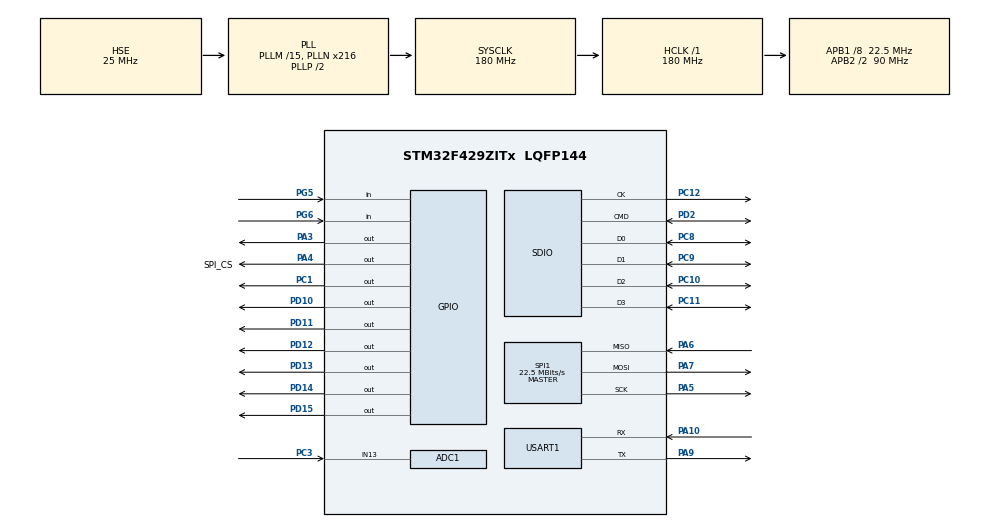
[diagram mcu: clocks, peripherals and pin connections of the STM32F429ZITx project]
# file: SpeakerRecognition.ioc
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ADC1.Channel-0\#ChannelRegularConversion=ADC_CHANNEL_13
ADC1.ClockPrescaler=ADC_CLOCK_SYNC_PCLK_DIV8
ADC1.ContinuousConvMode=ENABLE
ADC1.DMAContinuousRequests=ENABLE
ADC1.NbrOfConversionFlag=1
ADC1.Rank-0\#ChannelRegularConversion=1
ADC1.Resolution=ADC_RESOLUTION_8B
ADC1.SamplingTime-0\#ChannelRegularConversion=ADC_SAMPLETIME_480CYCLES
ADC1.ScanConvMode=ENABLE
ADC1.master=1
Dma.Request0=SPI1_RX
Dma.Request1=SPI1_TX
Dma.Request2=SDIO
Dma.SDIO.2.Direction=DMA_PERIPH_TO_MEMORY
Dma.SDIO.2.FIFOMode=DMA_FIFOMODE_ENABLE
Dma.SDIO.2.FIFOThreshold=DMA_FIFO_THRESHOLD_FULL
Dma.SDIO.2.Instance=DMA2_Stream3
Dma.SDIO.2.MemBurst=DMA_MBURST_INC4
Dma.SDIO.2.MemDataAlignment=DMA_MDATAALIGN_WORD
Dma.SDIO.2.MemInc=DMA_MINC_ENABLE
Dma.SDIO.2.Mode=DMA_PFCTRL
Dma.SDIO.2.PeriphBurst=DMA_PBURST_INC4
Dma.SDIO.2.PeriphDataAlignment=DMA_PDATAALIGN_WORD
Dma.SDIO.2.PeriphInc=DMA_PINC_DISABLE
Dma.SDIO.2.Priority=DMA_PRIORITY_VERY_HIGH
Dma.SPI1_RX.0.Direction=DMA_PERIPH_TO_MEMORY
Dma.SPI1_RX.0.FIFOMode=DMA_FIFOMODE_DISABLE
Dma.SPI1_RX.0.Instance=DMA2_Stream0
Dma.SPI1_RX.0.MemDataAlignment=DMA_MDATAALIGN_BYTE
Dma.SPI1_RX.0.MemInc=DMA_MINC_ENABLE
Dma.SPI1_RX.0.Mode=DMA_NORMAL
Dma.SPI1_RX.0.PeriphDataAlignment=DMA_PDATAALIGN_BYTE
Dma.SPI1_RX.0.PeriphInc=DMA_PINC_DISABLE
Dma.SPI1_RX.0.Priority=DMA_PRIORITY_VERY_HIGH
Dma.SPI1_TX.1.Direction=DMA_MEMORY_TO_PERIPH
Dma.SPI1_TX.1.FIFOMode=DMA_FIFOMODE_DISABLE
Dma.SPI1_TX.1.Instance=DMA2_Stream5
Dma.SPI1_TX.1.MemDataAlignment=DMA_MDATAALIGN_BYTE
Dma.SPI1_TX.1.MemInc=DMA_MINC_ENABLE
Dma.SPI1_TX.1.Mode=DMA_NORMAL
Dma.SPI1_TX.1.PeriphDataAlignment=DMA_PDATAALIGN_BYTE
Dma.SPI1_TX.1.PeriphInc=DMA_PINC_DISABLE
Dma.SPI1_TX.1.Priority=DMA_PRIORITY_VERY_HIGH
FATFS.USE_DMA_CODE_SD=1
FATFS._MAX_SS=4096
Mcu.Family=STM32F4
Mcu.Name=STM32F429ZITx
Mcu.Package=LQFP144
NVIC.DMA2_Stream0_IRQn=true\:0\:0\:false\:false\:true\:false
NVIC.DMA2_Stream3_IRQn=true\:0\:0\:false\:false\:true\:false
NVIC.DMA2_Stream5_IRQn=true\:0\:0\:false\:false\:true\:false
NVIC.PriorityGroup=NVIC_PRIORITYGROUP_4
NVIC.SDIO_IRQn=true\:0\:0\:false\:false\:true\:true
NVIC.TIM2_IRQn=true\:0\:0\:false\:false\:true\:true
PA10.Mode=Asynchronous
PA10.Signal=USART1_RX
PA3.Signal=GPIO_Output
PA4.GPIO_Label=SPI_CS
PA4.PinState=GPIO_PIN_SET
PA4.Signal=GPIO_Output
PA5.Mode=Full_Duplex_Master
PA5.Signal=SPI1_SCK
PA6.Mode=Full_Duplex_Master
PA6.Signal=SPI1_MISO
PA7.Mode=Full_Duplex_Master
PA7.Signal=SPI1_MOSI
PA9.Mode=Asynchronous
PA9.Signal=USART1_TX
PC1.GPIO_ModeDefaultOutputPP=GPIO_MODE_OUTPUT_PP
PC1.GPIO_PuPd=GPIO_NOPULL
PC1.GPIO_Speed=GPIO_SPEED_FREQ_LOW
PC1.PinState=GPIO_PIN_RESET
PC1.Signal=GPIO_Output
PC10.GPIO_PuPd=GPIO_NOPULL
PC10.Mode=SD_4_bits_Wide_bus
PC10.Signal=SDIO_D2
PC11.GPIO_PuPd=GPIO_NOPULL
PC11.Mode=SD_4_bits_Wide_bus
PC11.Signal=SDIO_D3
PC12.GPIO_PuPd=GPIO_NOPULL
PC12.Mode=SD_4_bits_Wide_bus
PC12.Signal=SDIO_CK
PC3.Signal=ADCx_IN13
PC8.GPIO_PuPd=GPIO_NOPULL
PC8.Mode=SD_4_bits_Wide_bus
PC8.Signal=SDIO_D0
PC9.GPIO_PuPd=GPIO_NOPULL
PC9.Mode=SD_4_bits_Wide_bus
PC9.Signal=SDIO_D1
PD10.Signal=GPIO_Output
PD11.Signal=GPIO_Output
PD12.Signal=GPIO_Output
PD13.Signal=GPIO_Output
PD14.Signal=GPIO_Output
PD15.Signal=GPIO_Output
PD2.GPIO_PuPd=GPIO_NOPULL
PD2.Mode=SD_4_bits_Wide_bus
PD2.Signal=SDIO_CMD
PG5.Signal=GPIO_Input
PG6.Signal=GPIO_Input
PH0/OSC_IN.Mode=HSE-External-Oscillator
PH0/OSC_IN.Signal=RCC_OSC_IN
PH1/OSC_OUT.Mode=HSE-External-Oscillator
PH1/OSC_OUT.Signal=RCC_OSC_OUT
ProjectManager.HeapSize=0x200
ProjectManager.StackSize=0x400
ProjectManager.TargetToolchain=TrueSTUDIO
RCC.48MHZClocksFreq_Value=45000000
RCC.AHBFreq_Value=180000000
RCC.APB1CLKDivider=RCC_HCLK_DIV8
RCC.APB1Freq_Value=22500000
RCC.APB1TimFreq_Value=45000000
RCC.APB2CLKDivider=RCC_HCLK_DIV2
RCC.APB2Freq_Value=90000000
RCC.APB2TimFreq_Value=180000000
RCC.CortexFreq_Value=180000000
RCC.HCLKFreq_Value=180000000
RCC.HSE_VALUE=25000000
RCC.HSI_VALUE=16000000
RCC.LSE_VALUE=32768
RCC.PLLM=15
RCC.PLLN=216
RCC.PLLQ=8
RCC.PLLSourceVirtual=RCC_PLLSOURCE_HSE
RCC.SYSCLKFreq_VALUE=180000000
RCC.SYSCLKSource=RCC_SYSCLKSOURCE_PLLCLK
RCC.VCOOutputFreq_Value=360000000
SDIO.ClockDiv=5
SDIO.ClockEdge=SDIO_CLOCK_EDGE_RISING
SH.ADCx_IN13.0=ADC1_IN13,IN13
SPI1.BaudRatePrescaler=SPI_BAUDRATEPRESCALER_4
SPI1.CalculateBaudRate=22.5 MBits/s
SPI1.DataSize=SPI_DATASIZE_8BIT
SPI1.Direction=SPI_DIRECTION_2LINES
SPI1.Mode=SPI_MODE_MASTER
SPI1.VirtualType=VM_MASTER
TIM2.Period=125
TIM2.Prescaler=42
USART1.VirtualMode=VM_ASYNC
VP_FATFS_VS_SDIO.Mode=SDIO
VP_TIM1_VS_ClockSourceITR.Mode=TriggerSource_ITR0
VP_TIM1_VS_ControllerModeClock.Mode=Clock Mode
VP_TIM2_VS_ClockSourceITR.Mode=TriggerSource_ITR0
VP_TIM2_VS_ControllerModeTrigger.Mode=Trigger Mode
board=SpeakerRecognition

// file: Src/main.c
/**
 ******************************************************************************
 * File Name          : main.c
 * Description        : Main program body
 ******************************************************************************
 * This notice applies to any and all portions of this file
 * that are not between comment pairs USER CODE BEGIN and
 * USER CODE END. Other portions of this file, whether
 * inserted by the user or by software development tools
 * are owned by their respective copyright owners.
 *
 * Copyright (c) 2018 STMicroelectronics International N.V.
 * All rights reserved.
 *
 * Redistribution and use in source and binary forms, with or without
 * modification, are permitted, provided that the following conditions are met:
 *
 * 1. Redistribution of source code must retain the above copyright notice,
 *    this list of conditions and the following disclaimer.
 * 2. Redistributions in binary form must reproduce the above copyright notice,
 *    this list of conditions and the following disclaimer in the documentation
 *    and/or other materials provided with the distribution.
 * 3. Neither the name of STMicroelectronics nor the names of other
 *    contributors to this software may be used to endorse or promote products
 *    derived from this software without specific written permission.
 * 4. This software, including modifications and/or derivative works of this
 *    software, must execute solely and exclusively on microcontroller or
 *    microprocessor devices manufactured by or for STMicroelectronics.
 * 5. Redistribution and use of this software other than as permitted under
 *    this license is void and will automatically terminate your rights under
 *    this license.
 *
 * THIS SOFTWARE IS PROVIDED BY STMICROELECTRONICS AND CONTRIBUTORS "AS IS"
 * AND ANY EXPRESS, IMPLIED OR STATUTORY WARRANTIES, INCLUDING, BUT NOT
 * LIMITED TO, THE IMPLIED WARRANTIES OF MERCHANTABILITY, FITNESS FOR A
 * PARTICULAR PURPOSE AND NON-INFRINGEMENT OF THIRD PARTY INTELLECTUAL PROPERTY
 * RIGHTS ARE DISCLAIMED TO THE FULLEST EXTENT PERMITTED BY LAW. IN NO EVENT
 * SHALL STMICROELECTRONICS OR CONTRIBUTORS BE LIABLE FOR ANY DIRECT, INDIRECT,
 * INCIDENTAL, SPECIAL, EXEMPLARY, OR CONSEQUENTIAL DAMAGES (INCLUDING, BUT NOT
 * LIMITED TO, PROCUREMENT OF SUBSTITUTE GOODS OR SERVICES; LOSS OF USE, DATA,
 * OR PROFITS; OR BUSINESS INTERRUPTION) HOWEVER CAUSED AND ON ANY THEORY OF
 * LIABILITY, WHETHER IN CONTRACT, STRICT LIABILITY, OR TORT (INCLUDING
 * NEGLIGENCE OR OTHERWISE) ARISING IN ANY WAY OUT OF THE USE OF THIS SOFTWARE,
 * EVEN IF ADVISED OF THE POSSIBILITY OF SUCH DAMAGE.
 *
 ******************************************************************************
 */

#include "main.h"
#include "stm32f4xx_hal.h"
#include "fatfs.h"

/* USER CODE BEGIN Includes */

#include "math.h"
#include "arm_math.h"
#include "fft.h"
#include "Macro_Definitions.h"
#include "filterCoef.h"
#include "s25fl512s.h"
#include "libmfcc.h"
#include "FlashDriver.h"
#include "sd_diskio.h"
#include "arm_abs_f32.h"
#include "lcd.h"
#include "ffneuralnet.h"
#include <stdlib.h>

/* USER CODE END Includes */

ADC_HandleTypeDef hadc1;

SD_HandleTypeDef hsd;
DMA_HandleTypeDef hdma_sdio;

SPI_HandleTypeDef hspi1;
DMA_HandleTypeDef hdma_spi1_rx;
DMA_HandleTypeDef hdma_spi1_tx;

TIM_HandleTypeDef htim1;
TIM_HandleTypeDef htim2;

UART_HandleTypeDef huart1;

/* USER CODE BEGIN PV */
/* Private variables ---------------------------------------------------------*/
/* Neural Network Variables  */
#define sizehid 90
#define sizein 36
#define sizeout 3
extern double WeightIH[sizehid][sizein];
extern double WeightHO[sizeout][sizehid];
extern double biases1[sizehid];
extern double biases2[sizeout];
volatile uint32_t user1 = 0;
volatile uint32_t user2 = 0;
volatile uint32_t user3 = 0;

/* Callbacks for DMA Transfers */

volatile uint8_t readwritedone = 0;
volatile uint8_t adcReady = 0;

/* End of Callbacks for DMA Transfers */

/* SD Card Variables */

extern uint8_t retSD; /* Return value for SD */
extern char SD_Path[]; /* SD logical drive path */
FATFS fs;
FIL fp;
FIL fp1;
char name[] = "rec.txt";
char name1[] = "mfcc.txt";
char me[] = "me.txt";
uint32_t stored;

/* End of SD Card With DMA Variables */

/*      MFCC Variables      */

extern double dctcoef[24][24];
extern double cepLifter[12];
extern const double bank[24][129];
extern uint16_t hamming[128];
uint8_t NoOfFilters = 24;

/*      End Of MFCC Variables      */

/*      FFT Variables      */

uint32_t fftSize = 128;
uint8_t ifftFlag = 0;
uint32_t doBitReverse = 1;
#define FrameStep 64
#define FrameLength 256
float32_t xmax[1] = {-255};

/*       End Of FFT Variables      */

/*  LCD and Menu Variables  */

extern uint8_t lcd_chars;
extern uint8_t lcd_lines;
extern uint8_t *lcd_line_addresses;

/*  End of LCD and Menu Variables  */

/*		 General Variables 		*/

#define BUFFER_SIZE  45000
float32_t* fbuffer;
//uint8_t aTxBuffer1[BUFFER_SIZE];
uint8_t* aTxBuffer1;
volatile uint8_t buffSelect = 1;
volatile uint8_t buff1full = 0;
//volatile uint8_t buff2full = 0;
volatile uint32_t buffIndex = 0;
volatile uint8_t doneRec = 0;
int id;
/*		End of General Variables 		*/

/* USER CODE END PV */

void SystemClock_Config(void);
static void MX_GPIO_Init(void);
static void MX_DMA_Init(void);
static void MX_SPI1_Init(void);
static void MX_USART1_UART_Init(void);
static void MX_TIM1_Init(void);
static void MX_TIM2_Init(void);
static void MX_SDIO_SD_Init(void);
static void MX_ADC1_Init(void);

/* USER CODE BEGIN PFP */
/* Private function prototypes -----------------------------------------------*/
void HAL_SPI_TxRxCpltCallback(SPI_HandleTypeDef *hspi);
void fft(uint32_t fftSize,float32_t buffer[],float32_t fft_out[fftSize]);
void mfcc (float32_t fft_out[] , int NoOfFilters);
double sigmoid(double x);
static void softmax( size_t input_len,double* input);
void feedforward(int coef, double nnin[coef]);
// Allows for smarter functionality if set

/* USER CODE END PFP */

/* USER CODE BEGIN 0 */
/*							 GENERAL INSTRUCTIONS FOR THE CODE BELOW						 */

/*	Flash Memory Instructions:
 *
 *					    1)In order to write data you MUST FISRT ERASE the sectors you are going
 *		         		  to write to   ( Master_EraseFlash(flash_addr,NoOfSectors); )
 *					    2)To read data  ( Master_ReadFromFlash(flash_addr,*buffer,NoOfBytes); )
 *				 	    3)To write data ( Master_WriteToFlash_Page(flash_addr,*buffer, NoOfPages); )
 *				   	    4)After each read an write we MUST 	(readwritedone = 0; )
 *	 	 	 	  		  Flash Memory Mapping: 256 Sectors and each of them has 256KB storage.
 *		 	 	 	 	  We can write to them using pages of 512B maximum.
 */

/*  LCD Screen Instructions:
 *
 * 						1)lcd_reset() : Used to reset and initialize the clock
 * 						2)lcd_write('',(value of RS)) : Used to write only one character
 * 						3)lcd_display_settings((turn LCD On),(Underline the last character written),(blink the last character written))
 * 						4)lcd_display_address() : sets the address to a specific point
 * 						5)lcd_print("") : prints a whole string
 *
 */

/* I2S Microphone Instructions:
 *
 * 						1)HAL_I2S_Receive_DMA(&hi2s2,buffer,buffer_size) : Used to read buffer_size data values from the microphone in uint16_t format stored to a buffer .
 * 						2)My Microphone reads data in uint24_t format
 * 						3)After each Recieve_DMA I need to wait for the recording to finish using while(i2sReady != 1){}
 *
 */

/* USER CODE END 0 */

int main(void)
{

	/* USER CODE BEGIN 1 */

	// Allocate memory of size BUFFER_SIZE to aTxBuffer1

	/* USER CODE END 1 */

	/* MCU Configuration----------------------------------------------------------*/

	/* Reset of all peripherals, Initializes the Flash interface and the Systick. */
	HAL_Init();

	/* Configure the system clock */
	SystemClock_Config();

	/* Initialize all configured peripherals */
	MX_GPIO_Init();
	MX_DMA_Init();
	MX_SPI1_Init();
	MX_USART1_UART_Init();
	MX_TIM1_Init();
	MX_TIM2_Init();
	MX_SDIO_SD_Init();
	MX_FATFS_Init();
	MX_ADC1_Init();

	/* USER CODE BEGIN 2 */

	/* Initialization for LCD */
	lcd_chars = 16;
	lcd_lines = 2;
	uint8_t addresses[] = {0x40};
	lcd_line_addresses = addresses;
	lcd_reset();
	lcd_display_settings(1, 1, 0);
	delay(1000);
	/* End of Initialization for LCD */

	/* Initialization for Flash Memory */
	HAL_GPIO_WritePin(GPIOC,GPIO_PIN_1,GPIO_PIN_RESET);
	HAL_GPIO_WritePin(GPIOG,GPIO_PIN_3,GPIO_PIN_RESET);
	//	uint8_t aTxBuffer[1024];
	//	uint8_t aTxTransmit[512];
	uint32_t flash_addr=0x00000;
	//Master_EraseFlash(flash_addr,1);
	/* End of Initialization for Flash Memory */

	/* Initialization for UART */
	char serialText[6];
	char serialText1[11];
	char serialText2[16];
	/* End of Initialization for UART */

	/* Loop Indexes */
	int i,j,k,m;
	/* End of Loop Indexes */

	lcd_clear();
	lcd_reset();

	while(1){

		if (HAL_GPIO_ReadPin(GPIOG, GPIO_PIN_5) != 0 || HAL_GPIO_ReadPin(GPIOG, GPIO_PIN_6) != 0){
			lcd_print("Welcome to C&S");
			delay(2000);
			lcd_clear();
			lcd_reset();
			lcd_print("LeftBtn:Record\n");
			lcd_print("RightBtn:Back");
			doneRec = 0;
			aTxBuffer1 = (uint8_t *) malloc(BUFFER_SIZE * sizeof(uint8_t));
			fbuffer = (float32_t *)malloc(BUFFER_SIZE/2 * sizeof(float32_t));
			while(HAL_GPIO_ReadPin(GPIOG, GPIO_PIN_5) != 0 || HAL_GPIO_ReadPin(GPIOG, GPIO_PIN_6) != 0){
				if (HAL_GPIO_ReadPin(GPIOG, GPIO_PIN_5) != 1){

					serialPrint("Mounting SD Card...\r\n");
					retSD = f_mount(&fs, SD_Path, 1);
					while ( retSD != FR_OK)
					{
						//Unlink and Link SD driver
						FATFS_UnLinkDriver(SD_Path);
						FATFS_LinkDriver(&SD_Driver,SD_Path);
						retSD = f_mount(&fs,"", 1);
						sprintf(serialText1,"\r\nFRESULT:%02d\r\n",(uint8_t) retSD); serialPrint(serialText1);

					}

					serialPrint("Opening File...\r\n");
					retSD = f_open(&fp, name, FA_CREATE_ALWAYS | FA_WRITE);
					if (FR_OK != retSD)
					{
						while (1)
							serialPrint("Problem with f_open...\r\n");
					}

					lcd_clear();
					lcd_reset();
					lcd_print("Recording...");
					/* Polling mode Recording */
					HAL_TIM_Base_Start_IT(&htim2);
					doneRec = 0;
					buff1full = 0;
					while(doneRec != 1){
						if (buff1full == 1){
							doneRec=1;
						}
					}
					HAL_TIM_Base_Stop_IT(&htim2);

					serialPrint("Writing File...\r\n");
					f_write(&fp,aTxBuffer1,BUFFER_SIZE,&stored);
					f_close(&fp);
					//free(aTxBuffer1);	//Used while creating the Training Dataset
//					for (i=0;i<45000;i++){	//Used while creating the Training Dataset
//						sprintf(serialText1,"%03d\r\n",aTxBuffer1[i]);serialPrint(serialText1);  //Used while creating the Training Dataset
//					}
					serialPrint("\r\nSD Done!!! \r\n");
					lcd_clear();
					lcd_reset();
					lcd_print("SD Done!");
					uint32_t NumOfSamples =0;
					float32_t mean;
					double sum =0;
					//aTxBuffer1 = (uint8_t *) malloc(45000 * sizeof(uint8_t));
					//f_open(&fp,me,FA_READ); //Used while creating the Training Dataset
					//for (int l =0;l<4;l++){	//Used while creating the Training Dataset
					//f_read(&fp,aTxBuffer1,45000,&stored);	//Used while creating the Training Dataset
					for (i=0;i<BUFFER_SIZE;i++){
						if (xmax[0] < aTxBuffer1[i]){
							xmax[0] = aTxBuffer1[i];
						}
						sum += aTxBuffer1[i];
						NumOfSamples++;
					}
					//}	//Used while creating the Training Dataset
					//f_close(&fp);	//Used while creating the Training Dataset
					mean = sum/NumOfSamples;
					arm_abs_f32(xmax,xmax,1);
					xmax[0]= xmax[0]-mean;
					float32_t hambuffer[256];
					lcd_clear();
					lcd_reset();
					lcd_print("Done Recording");
					delay(500);
					lcd_clear();
					lcd_reset();
					lcd_print("Data Analysis...");
					// Data Analysis Code
					f_open(&fp1, name1, FA_CREATE_ALWAYS | FA_WRITE);//Used while creating the Training Dataset
					//	f_open(&fp,me,FA_READ);	//Used while creating the Training Dataset
					//for (int l =0;l<4;l++){	//Used while creating the Training Dataset
					//f_read(&fp,aTxBuffer1,45000,&stored);	//Used while creating the Training Dataset

					for(k=0;k<2;k++){
						for(i=0;i<22500;i++)
						{
							fbuffer[i] = aTxBuffer1[i+22500*k] - mean;
							fbuffer[i] =  ((fbuffer[i] - xmax[0])/(4*xmax[0]-1));
						}
						for(i=0;i<2*175;i++){
							for(j=0;j<2*fftSize;j++){
								if ((j%2)==0){
									hambuffer[j]=(fbuffer[i*FrameStep+j/2]*hamming[j/2])/10000;
								}else{
									hambuffer[j] = 0;
								}//sprintf(serialText1,"%.05f\r\n",hambuffer[j]);serialPrint(serialText1); //Used while creating the Training Dataset
							}//sprintf(serialText1,"%03d,%05d\r\n",i,(i*FrameStep+j/2));serialPrint(serialText1); //Used while creating the Training Dataset

							/* DFT the Buffer */
							float32_t fft_out[fftSize];
							fft(fftSize,hambuffer,fft_out);
							/* MFCC from the fft_out */
							mfcc(fft_out,NoOfFilters);

						}
					}
					//}	//Used while creating the Training Dataset
					serialPrint("\r\nMFCC Done!\r\n");
					f_close(&fp1);
					f_close(&fp);
					free(aTxBuffer1);free(fbuffer);
					id = 0;
					sprintf(serialText1,"%d,%d,%d\r\n",user1,user2,user3);serialPrint(serialText1);
					if (user1 > user2 && user1 > user3){
						if( user1 > 400 ){
							id = 1;
						}
					}else if (user2 > user1 && user2 > user3){
						if ( user2 > 350 ){
							id = 2;
						}
					}else if (user3 > user1 && user3 > user2 ){
						if (user3 > 380){
							id = 3;
						}
					}else{
						id = 0;
					}
					lcd_clear();
					lcd_reset();

					if(id == 1 ){
						lcd_print("Welcome, Thanos!");
						lcd_print(" Door Unlocked.");
					}else if ( id == 2 ){
						lcd_print("Welcome, Chris! ");
						lcd_print(" Door Unlocked.");
					}else if ( id == 3 ){
						lcd_print("Welcome, Neoklis!");
						lcd_print(" Door Unlocked.");
					}else{
						lcd_print("Not Identified.\n");
						lcd_print("Try Again!");

					}
					user1 = 0;
					user2 = 0;
					user3 = 0;
					delay(2000);
					lcd_clear();
					lcd_reset();
					break;
				}
				else if (HAL_GPIO_ReadPin(GPIOG, GPIO_PIN_6) != 1){
					lcd_clear();
					lcd_reset();
					break;
				}
			}

		}
	}

	/* USER CODE END 2 */

	/* Infinite loop */
	while (1)
	{

	}

}

/** System Clock Configuration
 */
void SystemClock_Config(void)
{

	RCC_OscInitTypeDef RCC_OscInitStruct;
	RCC_ClkInitTypeDef RCC_ClkInitStruct;

	/**Configure the main internal regulator output voltage
	 */
	__HAL_RCC_PWR_CLK_ENABLE();

	__HAL_PWR_VOLTAGESCALING_CONFIG(PWR_REGULATOR_VOLTAGE_SCALE1);

	/**Initializes the CPU, AHB and APB busses clocks
	 */
	RCC_OscInitStruct.OscillatorType = RCC_OSCILLATORTYPE_HSE;
	RCC_OscInitStruct.HSEState = RCC_HSE_ON;
	RCC_OscInitStruct.PLL.PLLState = RCC_PLL_ON;
	RCC_OscInitStruct.PLL.PLLSource = RCC_PLLSOURCE_HSE;
	RCC_OscInitStruct.PLL.PLLM = 15;
	RCC_OscInitStruct.PLL.PLLN = 216;
	RCC_OscInitStruct.PLL.PLLP = RCC_PLLP_DIV2;
	RCC_OscInitStruct.PLL.PLLQ = 8;
	if (HAL_RCC_OscConfig(&RCC_OscInitStruct) != HAL_OK)
	{
		_Error_Handler(__FILE__, __LINE__);
	}

	/**Activate the Over-Drive mode
	 */
	if (HAL_PWREx_EnableOverDrive() != HAL_OK)
	{
		_Error_Handler(__FILE__, __LINE__);
	}

	/**Initializes the CPU, AHB and APB busses clocks
	 */
	RCC_ClkInitStruct.ClockType = RCC_CLOCKTYPE_HCLK|RCC_CLOCKTYPE_SYSCLK
			|RCC_CLOCKTYPE_PCLK1|RCC_CLOCKTYPE_PCLK2;
	RCC_ClkInitStruct.SYSCLKSource = RCC_SYSCLKSOURCE_PLLCLK;
	RCC_ClkInitStruct.AHBCLKDivider = RCC_SYSCLK_DIV1;
	RCC_ClkInitStruct.APB1CLKDivider = RCC_HCLK_DIV8;
	RCC_ClkInitStruct.APB2CLKDivider = RCC_HCLK_DIV2;

	if (HAL_RCC_ClockConfig(&RCC_ClkInitStruct, FLASH_LATENCY_5) != HAL_OK)
	{
		_Error_Handler(__FILE__, __LINE__);
	}

	/**Configure the Systick interrupt time
	 */
	HAL_SYSTICK_Config(HAL_RCC_GetHCLKFreq()/1000);

	/**Configure the Systick
	 */
	HAL_SYSTICK_CLKSourceConfig(SYSTICK_CLKSOURCE_HCLK);

	/* SysTick_IRQn interrupt configuration */
	HAL_NVIC_SetPriority(SysTick_IRQn, 0, 0);
}

/* ADC1 init function */
static void MX_ADC1_Init(void)
{

	ADC_ChannelConfTypeDef sConfig;

	/**Configure the global features of the ADC (Clock, Resolution, Data Alignment and number of conversion)
	 */
	hadc1.Instance = ADC1;
	hadc1.Init.ClockPrescaler = ADC_CLOCK_SYNC_PCLK_DIV8;
	hadc1.Init.Resolution = ADC_RESOLUTION_8B;
	hadc1.Init.ScanConvMode = ENABLE;
	hadc1.Init.ContinuousConvMode = ENABLE;
	hadc1.Init.DiscontinuousConvMode = DISABLE;
	hadc1.Init.ExternalTrigConvEdge = ADC_EXTERNALTRIGCONVEDGE_NONE;
	hadc1.Init.ExternalTrigConv = ADC_SOFTWARE_START;
	hadc1.Init.DataAlign = ADC_DATAALIGN_RIGHT;
	hadc1.Init.NbrOfConversion = 1;
	hadc1.Init.DMAContinuousRequests = ENABLE;
	hadc1.Init.EOCSelection = ADC_EOC_SINGLE_CONV;
	if (HAL_ADC_Init(&hadc1) != HAL_OK)
	{
		_Error_Handler(__FILE__, __LINE__);
	}

	/**Configure for the selected ADC regular channel its corresponding rank in the sequencer and its sample time.
	 */
	sConfig.Channel = ADC_CHANNEL_13;
	sConfig.Rank = 1;
	sConfig.SamplingTime = ADC_SAMPLETIME_480CYCLES;
	if (HAL_ADC_ConfigChannel(&hadc1, &sConfig) != HAL_OK)
	{
		_Error_Handler(__FILE__, __LINE__);
	}

}

/* SDIO init function */
static void MX_SDIO_SD_Init(void)
{

	hsd.Instance = SDIO;
	hsd.Init.ClockEdge = SDIO_CLOCK_EDGE_RISING;
	hsd.Init.ClockBypass = SDIO_CLOCK_BYPASS_DISABLE;
	hsd.Init.ClockPowerSave = SDIO_CLOCK_POWER_SAVE_DISABLE;
	hsd.Init.BusWide = SDIO_BUS_WIDE_1B;
	hsd.Init.HardwareFlowControl = SDIO_HARDWARE_FLOW_CONTROL_DISABLE;
	hsd.Init.ClockDiv = 2;

}

/* SPI1 init function */
static void MX_SPI1_Init(void)
{

	/* SPI1 parameter configuration*/
	hspi1.Instance = SPI1;
	hspi1.Init.Mode = SPI_MODE_MASTER;
	hspi1.Init.Direction = SPI_DIRECTION_2LINES;
	hspi1.Init.DataSize = SPI_DATASIZE_8BIT;
	hspi1.Init.CLKPolarity = SPI_POLARITY_LOW;
	hspi1.Init.CLKPhase = SPI_PHASE_1EDGE;
	hspi1.Init.NSS = SPI_NSS_SOFT;
	hspi1.Init.BaudRatePrescaler = SPI_BAUDRATEPRESCALER_2;
	hspi1.Init.FirstBit = SPI_FIRSTBIT_MSB;
	hspi1.Init.TIMode = SPI_TIMODE_DISABLE;
	hspi1.Init.CRCCalculation = SPI_CRCCALCULATION_DISABLE;
	hspi1.Init.CRCPolynomial = 10;
	if (HAL_SPI_Init(&hspi1) != HAL_OK)
	{
		_Error_Handler(__FILE__, __LINE__);
	}

}

/* TIM1 init function */
static void MX_TIM1_Init(void)
{

	TIM_SlaveConfigTypeDef sSlaveConfig;
	TIM_MasterConfigTypeDef sMasterConfig;

	htim1.Instance = TIM1;
	htim1.Init.Prescaler = 0;
	htim1.Init.CounterMode = TIM_COUNTERMODE_UP;
	htim1.Init.Period = 0;
	htim1.Init.ClockDivision = TIM_CLOCKDIVISION_DIV1;
	htim1.Init.RepetitionCounter = 0;
	if (HAL_TIM_Base_Init(&htim1) != HAL_OK)
	{
		_Error_Handler(__FILE__, __LINE__);
	}

	sSlaveConfig.SlaveMode = TIM_SLAVEMODE_EXTERNAL1;
	sSlaveConfig.InputTrigger = TIM_TS_ITR0;
	if (HAL_TIM_SlaveConfigSynchronization(&htim1, &sSlaveConfig) != HAL_OK)
	{
		_Error_Handler(__FILE__, __LINE__);
	}

	sMasterConfig.MasterOutputTrigger = TIM_TRGO_RESET;
	sMasterConfig.MasterSlaveMode = TIM_MASTERSLAVEMODE_DISABLE;
	if (HAL_TIMEx_MasterConfigSynchronization(&htim1, &sMasterConfig) != HAL_OK)
	{
		_Error_Handler(__FILE__, __LINE__);
	}

}

/* TIM2 init function */
static void MX_TIM2_Init(void)
{

	TIM_SlaveConfigTypeDef sSlaveConfig;
	TIM_MasterConfigTypeDef sMasterConfig;

	htim2.Instance = TIM2;
	htim2.Init.Prescaler = 42;
	htim2.Init.CounterMode = TIM_COUNTERMODE_UP;
	htim2.Init.Period = 125;
	htim2.Init.ClockDivision = TIM_CLOCKDIVISION_DIV1;
	if (HAL_TIM_Base_Init(&htim2) != HAL_OK)
	{
		_Error_Handler(__FILE__, __LINE__);
	}

	sSlaveConfig.SlaveMode = TIM_SLAVEMODE_TRIGGER;
	sSlaveConfig.InputTrigger = TIM_TS_ITR0;
	if (HAL_TIM_SlaveConfigSynchronization(&htim2, &sSlaveConfig) != HAL_OK)
	{
		_Error_Handler(__FILE__, __LINE__);
	}

	sMasterConfig.MasterOutputTrigger = TIM_TRGO_RESET;
	sMasterConfig.MasterSlaveMode = TIM_MASTERSLAVEMODE_DISABLE;
	if (HAL_TIMEx_MasterConfigSynchronization(&htim2, &sMasterConfig) != HAL_OK)
	{
		_Error_Handler(__FILE__, __LINE__);
	}

}

/* USART1 init function */
static void MX_USART1_UART_Init(void)
{

	huart1.Instance = USART1;
	huart1.Init.BaudRate = 115200;
	huart1.Init.WordLength = UART_WORDLENGTH_8B;
	huart1.Init.StopBits = UART_STOPBITS_1;
	huart1.Init.Parity = UART_PARITY_NONE;
	huart1.Init.Mode = UART_MODE_TX_RX;
	huart1.Init.HwFlowCtl = UART_HWCONTROL_NONE;
	huart1.Init.OverSampling = UART_OVERSAMPLING_16;
	if (HAL_UART_Init(&huart1) != HAL_OK)
	{
		_Error_Handler(__FILE__, __LINE__);
	}

}

static void MX_DMA_Init(void)
{
	/* DMA controller clock enable */
	__HAL_RCC_DMA2_CLK_ENABLE();

	/* DMA interrupt init */
	/* DMA2_Stream0_IRQn interrupt configuration */
	HAL_NVIC_SetPriority(DMA2_Stream0_IRQn, 0, 0);
	HAL_NVIC_EnableIRQ(DMA2_Stream0_IRQn);
	/* DMA2_Stream3_IRQn interrupt configuration */
	HAL_NVIC_SetPriority(DMA2_Stream3_IRQn, 0, 0);
	HAL_NVIC_EnableIRQ(DMA2_Stream3_IRQn);
	/* DMA2_Stream5_IRQn interrupt configuration */
	HAL_NVIC_SetPriority(DMA2_Stream5_IRQn, 0, 0);
	HAL_NVIC_EnableIRQ(DMA2_Stream5_IRQn);

}

/** Configure pins as
 * Analog
 * Input
 * Output
 * EVENT_OUT
 * EXTI
 */
static void MX_GPIO_Init(void)
{

	GPIO_InitTypeDef GPIO_InitStruct;

	/* GPIO Ports Clock Enable */
	__HAL_RCC_GPIOH_CLK_ENABLE();
	__HAL_RCC_GPIOC_CLK_ENABLE();
	__HAL_RCC_GPIOA_CLK_ENABLE();
	__HAL_RCC_GPIOD_CLK_ENABLE();
	__HAL_RCC_GPIOG_CLK_ENABLE();

	/*Configure GPIO pin Output Level */
	HAL_GPIO_WritePin(GPIOC, GPIO_PIN_1, GPIO_PIN_RESET);

	/*Configure GPIO pin Output Level */
	HAL_GPIO_WritePin(GPIOA, GPIO_PIN_3, GPIO_PIN_RESET);

	/*Configure GPIO pin Output Level */
	HAL_GPIO_WritePin(SPI_CS_GPIO_Port, SPI_CS_Pin, GPIO_PIN_SET);

	/*Configure GPIO pin Output Level */
	HAL_GPIO_WritePin(GPIOD, GPIO_PIN_10|GPIO_PIN_11|GPIO_PIN_12|GPIO_PIN_13
			|GPIO_PIN_14|GPIO_PIN_15, GPIO_PIN_RESET);

	/*Configure GPIO pin : PC1 */
	GPIO_InitStruct.Pin = GPIO_PIN_1;
	GPIO_InitStruct.Mode = GPIO_MODE_OUTPUT_PP;
	GPIO_InitStruct.Pull = GPIO_NOPULL;
	GPIO_InitStruct.Speed = GPIO_SPEED_FREQ_LOW;
	HAL_GPIO_Init(GPIOC, &GPIO_InitStruct);

	/*Configure GPIO pins : PA3 SPI_CS_Pin */
	GPIO_InitStruct.Pin = GPIO_PIN_3|SPI_CS_Pin;
	GPIO_InitStruct.Mode = GPIO_MODE_OUTPUT_PP;
	GPIO_InitStruct.Pull = GPIO_NOPULL;
	GPIO_InitStruct.Speed = GPIO_SPEED_FREQ_LOW;
	HAL_GPIO_Init(GPIOA, &GPIO_InitStruct);

	/*Configure GPIO pins : PD10 PD11 PD12 PD13
                           PD14 PD15 */
	GPIO_InitStruct.Pin = GPIO_PIN_10|GPIO_PIN_11|GPIO_PIN_12|GPIO_PIN_13
			|GPIO_PIN_14|GPIO_PIN_15;
	GPIO_InitStruct.Mode = GPIO_MODE_OUTPUT_PP;
	GPIO_InitStruct.Pull = GPIO_NOPULL;
	GPIO_InitStruct.Speed = GPIO_SPEED_FREQ_LOW;
	HAL_GPIO_Init(GPIOD, &GPIO_InitStruct);

	/*Configure GPIO pins : PG5 PG6 */
	GPIO_InitStruct.Pin = GPIO_PIN_5|GPIO_PIN_6;
	GPIO_InitStruct.Mode = GPIO_MODE_INPUT;
	GPIO_InitStruct.Pull = GPIO_NOPULL;
	HAL_GPIO_Init(GPIOG, &GPIO_InitStruct);

}

/* USER CODE BEGIN 4 */
/**
 * @brief Tx and Rx Transfer completed callback.
 * @param  hspi pointer to a SPI_HandleTypeDef structure that contains
 *               the configuration information for SPI module.
 * @retval None
 */
void HAL_SPI_TxRxCpltCallback(SPI_HandleTypeDef *hspi)
{
	readwritedone++;

}

/**
 * @brief Tx Half Transfer completed callback.
 * @param  hspi pointer to a SPI_HandleTypeDef structure that contains
 *               the configuration information for SPI module.
 * @retval None
 */

void fft(uint32_t fftSize,float32_t buffer[], float32_t fft_out[fftSize]){

	int i;
	char serialt[8];

	/* 					Complex Fast Fourier Transformation					 */

	/* Process the data through the CFFT/CIFFT module *The buffer must be larger than len */
	if (fftSize ==64)
		arm_cfft_f32(&arm_cfft_sR_f32_len64,buffer,ifftFlag,doBitReverse);
	else if(fftSize == 128)
		arm_cfft_f32(&arm_cfft_sR_f32_len128,buffer,ifftFlag,doBitReverse);
	else if (fftSize ==256)
		arm_cfft_f32(&arm_cfft_sR_f32_len256,buffer,ifftFlag,doBitReverse);
	else if (fftSize == 512)
		arm_cfft_f32(&arm_cfft_sR_f32_len512,buffer,ifftFlag,doBitReverse);
	else if (fftSize == 1024)
		arm_cfft_f32(&arm_cfft_sR_f32_len1024,buffer,ifftFlag,doBitReverse);
	else
		serialPrint("Supports up to 1024 bin fft\r\n");
	/* 				End of Complex Fast Fourier Transformation 				*/
	float32_t afbuffer[256];
	arm_abs_f32(buffer,afbuffer,256);
	//for(i=0;i<256;i++){
	//sprintf(serialt,"%.03f\r\n",afbuffer[i]);serialPrint(serialt);
	//	}
	for(i=0;i<2*fftSize;i+=2){

		fft_out[i/2] = ((afbuffer[i]*afbuffer[i])/fftSize);

	}
}

void mfcc (float32_t fft_out[] , int NoOfFilters){
	int coef = 24;
	double MFCC[coef];
	double preMFCC[coef];
	int i,j,k,m;
	char serialt[16];

	for (k=0;k<24;k++){
		preMFCC[k]=0;
		for (m=0;m<128;m++){
			preMFCC[k] += bank[k][m]*fft_out[m];
		}preMFCC[k]=(log10(preMFCC[k]));
		//				sprintf(serialt,"%.03f\r\n",preMFCC[k]);serialPrint(serialt);
	}

	for( i=0; i<24; i++ ){
		//	MFCC[i] =0;
		for (m=0;m<24;m++){
			MFCC[i] += dctcoef[i][m]*preMFCC[m];
		}
		if (i<13 && i!=0){
			f_write(&fp1, MFCC+i,sizeof(MFCC[0]),&stored);	//Used only for Training Recording
			//sprintf(serialt,"MFCC %i %.03f\r\n",i,MFCC[i]);serialPrint(serialt);
		}
	}//serialPrint("\r\n");
	//delay(1000);
	//Calculate deltas
	double dMFCC[12];
	double ddMFCC[12];

	int a = (-4)*36;
	fseek(&fp1,a,SEEK_CUR);
	for ( i=0; i<24; i++){
		if (i<12){
			f_read(&fp1,ddMFCC+i,sizeof(MFCC[0]),&stored);
		}
		if (i>12){
			f_read(&fp1,dMFCC+i,sizeof(MFCC[0]),&stored);
			}
	}
	for( i=0; i<12; i++){
		dMFCC[i] = (MFCC[i] - dMFCC[i])/2;
	}
	for( i=0; i<12; i++){
		ddMFCC[i] = (ddMFCC[i] - 2*MFCC[i] +dMFCC[i]);
	}
	fseek(&fp1,0,SEEK_END);
	for (i=1;i<=12;i++){
		f_write(&fp1, dMFCC+i,sizeof(dMFCC[0]),&stored);
		f_write(&fp1, ddMFCC+i,sizeof(ddMFCC[0]),&stored);
	}

	double nnin[36];
	k=0;
	m=0;

	int in =36;
	//Calculate delta-deltas
	for(i=0;i<sizein;i++){
		if (i < 12){
			nnin[i] = MFCC[i+1];
		}else if (i%2 == 0){
			nnin[i] = dMFCC[k];
			k++;
		}else{
			nnin[i] = ddMFCC[m];
			m++;
		}
		//sprintf(serialt,"%.03f\r\n",nnin[i]);serialPrint(serialt);

	}

	feedforward(in,nnin);

}
/* Activation Function */
double sigmoid(double x){
	return 2.0/(1.0 + exp(-2*x)) - 1.0 ;
}
static void softmax(size_t input_len,double* input) {

  double m = -INFINITY;
  for (size_t i = 0; i < input_len; i++) {
    if (input[i] > m) {
      m = input[i];
    }
  }

  double sum = 0.0;
  for (size_t i = 0; i < input_len; i++) {
    sum += exp(input[i] - m);
  }

  double offset = m + log(sum);
  for (size_t i = 0; i < input_len; i++) {
    input[i] = exp(input[i] - offset);
  }
}

void feedforward(int coef,double nnin[coef]){
	int i,j,p;

	uint8_t ind = 0;
	double *tout;
	tout = (double *) malloc(sizeout*sizeof(double));

	double* sumIH;
	sumIH = (double *) malloc(sizehid*sizeof(double));

	double* sumHO;
	sumHO = (double *) malloc(sizeout*sizeof(double));

	char serialt[8];
	for(i=0;i<sizehid;i++){
		sumIH[i] =0;
		for(j=0;j<sizein;j++){
			sumIH[i] += WeightIH[i][j]*nnin[j];
		}
		sumIH[i] = sigmoid(sumIH[i] + biases1[i]);
		//sprintf(serialt,"%.03f\r\n",sumIH[i]);serialPrint(serialt);
	}

	// Hidden Layer -> Output Layer
	for(j=0;j<sizeout;j++){
		sumHO[j] = 0;
		for(i=0;i<sizehid;i++){
			sumHO[j]+= WeightHO[j][i]*sumIH[i];

		}//sprintf(serialt,"%.03f\r\n",sumHO[j]);serialPrint(serialt);
		tout[j] = sumHO[j] + biases2[j];

		//sprintf(serialt,"%.03f\r\n",tout[j]);serialPrint(serialt);
	}//serialPrint("\r\n");
	softmax(3,tout);
	for (i=0;i<3;i++){
	//	sprintf(serialt,"%.03f\r\n",tout[i]);serialPrint(serialt);
	}
	float32_t max = tout[0];
	for (p=0;p<sizeout;p++){
		if (tout[p]>max){
			max = tout[p];
			ind = p;
			//sprintf(serialt,"%d\r\n",max);serialPrint(serialt);
		}
	}
	if (ind == 0){
		user1++;
	}
	if (ind == 1){
		user2++;
	}
	if (ind == 2){
		user3++;
	}
	free(sumIH);free(sumHO);free(tout);
}

/* RFFT Implementation
 *
 *
 * 		static float32_t output[256]={0};
 *		arm_status status;
 *		arm_rfft_fast_instance_f32 S;
 *
 *		status = arm_rfft_fast_init_f32(&S,fftSize);
 *		arm_rfft_fast_f32(&S,buffer,output,0);
 *		for(i=0;i<256;i++){
 *			sprintf(serialt,"%.03f\r\n",output[i]);serialPrint(serialt);
 *		}
 */
/* Menu First Try

   		lcd_print("_Welcome to C&S_");
		lcd_display_address(0x40);
		lcd_print("Press Any Button");
		if (HAL_GPIO_ReadPin(GPIOG, GPIO_PIN_5) != 1 || HAL_GPIO_ReadPin(GPIOG, GPIO_PIN_6) != 1){
			lcd_clear();
			lcd_reset();
			lcd_print("__Left Btn:Rec__");
			lcd_display_address(0x40);
			lcd_print("_Right Btn:Back_");
			while(HAL_GPIO_ReadPin(GPIOG, GPIO_PIN_5) != 1 || HAL_GPIO_ReadPin(GPIOG, GPIO_PIN_6) != 1){
				if (HAL_GPIO_ReadPin(GPIOG, GPIO_PIN_5) != 1){
					lcd_clear();
					lcd_reset();
					lcd_print("Recording...");
					delay(2000);
					// Recording Code
					lcd_clear();
					lcd_reset();
					lcd_print("Done Recording...");
					lcd_display_address(0x40);
					lcd_print("Data Analysis...");
					// Data Analysis Code
					while(1);
				}
				else if (HAL_GPIO_ReadPin(GPIOG, GPIO_PIN_6) != 1){
					lcd_clear();
					lcd_reset();
					break;
				}
			}

		}

 */

/*	FLASH MEMORY TEST: Erase, Write and then Read a whole sector of the flash!
	for(int i=0;i<512;i++){
		if(i<256)
		aTxBuffer[i]= i;
		else
		aTxBuffer[i]= i-256;

	}
	Master_EraseFlash(flash_addr,1);
	for (flash_addr = 0;flash_addr<262144;flash_addr+=512){
	Master_WriteToFlash_Page(flash_addr, aTxBuffer, 1);

	}

	for (flash_addr = 0;flash_addr<262144;flash_addr+=512){
	Master_ReadFromFlash(flash_addr,aTxTransmit,512);

		sprintf(serialText,"%03d\r\n",aTxTransmit[1]); serialPrint(serialText);
		sprintf(serialText,"%03d\r\n",aTxTransmit[511]); serialPrint(serialText);
	}
	for(int i = 1;i<512;i++){
	sprintf(serialText,"%03d\r\n",aTxTransmit[i]); serialPrint(serialText);
	}

 			Buffer Oustoglou DO NOT DELETE
	uint32_t bufferOust[size/3];
	uint8_t p=0;
	for(int i=2;i<12000;i+=4)
	{
		sprintf(serialText1,"%08d\r\n",(uint32_t)((buffer[i]<<8)|(buffer[i+1]>>8)));serialPrint(serialText1);
		bufferOust[i-2-p] = ((buffer[i]<<8)|(buffer[i+1]>>8));
		if(bufferOust[i-2-p] >= 4194304){
			bufferOust[i-2-p] = bufferOust[i-2-p] - 8388608;
		}
		sprintf(serialText1,"%08d\r\n",bufferOust[i-2-p]);serialPrint(serialText1);
		k+=4;
	}
 */

/*	MFCC FIRST TRY: Failure! Compute a better filter with 128fftbins
		for (k=0;k<26;k++){
			for (m=0;m<128;m++){
				OutputInMatrix[k][m]=MelFilterbanks[k][m]*testOutput[m];
			}
		}
		for (k=0;k<26;k++){
			MFCC[k]=0;
			for (m=0;m<129;m++){
				MFCC[k] +=	OutputInMatrix[m][k];
			}
			sprintf(serialText2,"%1.02f\r\n",k,MFCC[k]);serialPrint(serialText2);
		}
		for (k=0;k<NoOfFilters;k++){
			MFCC[k]=log(fabs(MFCC[k]));
			MFCC[k]=(MFCC[k]*cos((((13*PI)/NoOfFilters))*(k-0.5f)))/NoOfFilters;
			MFCC[k]=MFCC[k]*dct[k];
			if (k<13){
				sprintf(serialText2,"MFCC %i %1.02f\r\n",k,MFCC[k]);serialPrint(serialText2);
			}
		}
 */

/* libmfcc
	float32_t mfcc_result;
	for(int coeff = 0; coeff < 13; coeff++){
		mfcc_result = GetCoefficient(fbuffer, 8000, 26, 128, coeff);
		sprintf(serialText1,"%i %1.02f\r\n", coeff, mfcc_result);serialPrint(serialText1);
	}
	serialPrint("\r\nMFCC Done!\r\n");
 */

/* 	   LCD Test
 * while(1) {
		 Simple functions
			        lcd_clear();
			        lcd_write('L', 1);
			        lcd_write('A', 1);
			        lcd_write('L', 1);
			        lcd_write('A', 1);
			        lcd_display_address(0x40);
			        lcd_print("stm32-hd44780");
			        delay(3000);

		 Smart functions (1)
			        lcd_clear();
		lcd_print(" DOYLEYEI ");
		lcd_display_address(0x40);
		lcd_print("   :D  :D  :D   ");
			        delay(1000);

			        // Smart functions (2)
			        lcd_clear();
			        lcd_print("aaaaaaaaaaaaaaaa aaaaaa");
			        delay(3000);

	}
 */

/*	SD Card
FATFS FatFs;
UINT byteCount;
FIL SDFile;
FRESULT result;

serialPrint("Mounting SD Card...\r\n");
result = f_mount(&FatFs,(TCHAR const*)SD_Path, 1);
while ( result != FR_OK)
{
	//Unlink and Link SD driver
	FATFS_UnLinkDriver(SD_Path);
	FATFS_LinkDriver(&SD_Driver,SD_Path);
	result = f_mount(&FatFs,"", 1);
	sprintf(serialText,"\r\nFRESULT:%02d\r\n",(uint8_t) result); serialPrint(serialText);

}
serialPrint("Opening File...\r\n");
if (f_open(&SDFile, "lala.txt", FA_WRITE | FA_CREATE_ALWAYS) != FR_OK)
	while (1)
		serialPrint("Problem with f_open...\r\n");
lcd_clear();
lcd_reset();
lcd_print("Writing SD!");
serialPrint("Writing File...\r\n");
flash_addr = 0;
for (flash_addr = 0;flash_addr<(2*84480);flash_addr+=512){
	Master_ReadFromFlash(flash_addr,aTxTransmit,512);
	f_write(&SDFile,aTxTransmit,512,&byteCount);
}
f_close(&SDFile);
serialPrint("\r\nSD Done!!! \r\n");
lcd_clear();
lcd_reset();
lcd_print("SD Done!");
 */

//j=0;
//HAL_TIM_Base_Start_IT(&htim2);
//while(j<25){
//		if (buff1full == 1){
//
//			Master_WriteToFlash_Page(flash_addr, aTxBuffer1, 16);
//			flash_addr+=0x2000;
//			buff1full = 0;
//			j++;
//		}
//		if(buff2full == 1){
//			Master_WriteToFlash_Page(flash_addr, aTxBuffer2, 16);
//			flash_addr+=0x2000;
//			buff2full = 0;
//			j++;
//		}
//
//}
//HAL_TIM_Base_Stop_IT(&htim2);

/* Signal Analysis Using SD Card
 * 	retSD =f_open(&fp, name, FA_READ);
	if (FR_OK != retSD)
	{
		while (1)
			serialPrint("Problem with f_open...\r\n");
	}
	f_read(&fp,aTxBuffer,1024,&stored);
	uint32_t NumOfSamples =0;
	float32_t mean;
	double sum =0;
	while (stored == 1024){
		for (i=0;i<1024;i++){
			if (xmax[0] < aTxBuffer[i]){
				xmax[0] = aTxBuffer[i];
			}
			sum += aTxBuffer[i];
			NumOfSamples++;
		}
		f_read(&fp,aTxBuffer,1024,&stored);
	}
	f_close(&fp);

	mean = sum/NumOfSamples;
	arm_abs_f32(xmax,xmax,1);
	xmax[0]= xmax[0]-mean;

	f_open(&fp, name, FA_READ);
	f_read(&fp,aTxBuffer1,4096,&stored);
	float32_t hambuffer[256];
	float32_t fbuffer[4096];
	while (stored == 4096)
	{
		for(i=0;i<4096;i++)
		{
			fbuffer[i] = aTxBuffer1[i] - mean;
			fbuffer[i] =  ((fbuffer[i] - xmax[0])/(4*xmax[0]-1));
		}

		for(i=0;i<16;i++)
		{
			for(j=0;j<256;j++)
			{
				hambuffer[j]=fbuffer[i*FrameStep+j];
			}

			// DFT the Buffer
			float32_t fft_out[fftSize/2];
			fft(fftSize,hambuffer,fft_out);
			// MFCC from the fft_out
			mfcc(fft_out,NoOfFilters);

		}
		f_read(&fp,aTxBuffer1,4096,&stored);
	}

	f_close(&fp);
	serialPrint("\r\nMFCC Done!\r\n");
 */

/*      Code without Menu     */
//	serialPrint("Mounting SD Card...\r\n");
//	retSD = f_mount(&fs, SD_Path, 1);
//	while ( retSD != FR_OK)
//	{
//		//Unlink and Link SD driver
//		FATFS_UnLinkDriver(SD_Path);
//		FATFS_LinkDriver(&SD_Driver,SD_Path);
//		retSD = f_mount(&fs,"", 1);
//		sprintf(serialText1,"\r\nFRESULT:%02d\r\n",(uint8_t) retSD); serialPrint(serialText1);
//
//	}
//
//	serialPrint("Opening File...\r\n");
//	retSD = f_open(&fp, name, FA_CREATE_ALWAYS | FA_WRITE);
//	if (FR_OK != retSD)
//	{
//		while (1)
//			serialPrint("Problem with f_open...\r\n");
//	}
//
//
//	/* Recording */
//	lcd_clear();
//	lcd_reset();
//	lcd_print("Recording...");
//
//	serialPrint("\r\nRecording\r\n");
//
//	/* Polling mode Recording */
//	HAL_TIM_Base_Start_IT(&htim2);
//	while(doneRec != 1){
//		if (buff1full == 1){
//			doneRec=1;
//		}
//	}
//	HAL_TIM_Base_Stop_IT(&htim2);
//
//	lcd_clear();
//	lcd_reset();
//	lcd_print("Writing SD!");
//	serialPrint("Writing File...\r\n");
//	f_write(&fp,aTxBuffer1,45000,&stored);
//	f_close(&fp);
//	//	free(aTxBuffer1);
//	serialPrint("\r\nSD Done!!! \r\n");
//	lcd_clear();
//	lcd_reset();
//	lcd_print("SD Done!");
//	uint32_t NumOfSamples =0;
//	float32_t mean;
//	double sum =0;
//	//f_open(&fp,me,FA_READ);
//	//for (int l =0;l<4;l++){
//	//f_read(&fp,aTxBuffer1,45000,&stored);
//
//
//	for (i=0;i<45000;i++){
//		if (xmax[0] < aTxBuffer1[i]){
//			xmax[0] = aTxBuffer1[i];
//		}
//		sum += aTxBuffer1[i];
//		NumOfSamples++;
//	}
//	//}
//	//f_close(&fp);
//	mean = sum/NumOfSamples;
//	arm_abs_f32(xmax,xmax,1);
//	xmax[0]= xmax[0]-mean;
//
//	float32_t hambuffer[256];
//
//	f_open(&fp1, name1, FA_CREATE_ALWAYS | FA_WRITE);
//	//f_open(&fp,me,FA_READ);
//
//	//for (int l =0;l<4;l++){
//	//f_read(&fp,aTxBuffer1,45000,&stored);
//	for(k=0;k<2;k++){
//		for(i=0;i<22500;i++)
//		{
//			fbuffer[i] = aTxBuffer1[i+22500*k] - mean;
//			fbuffer[i] =  ((fbuffer[i] - xmax[0])/(4*xmax[0]-1));
//
//		}
//
//		for(i=0;i<2*175;i++){
//			for(j=0;j<2*fftSize;j++)
//			{
//				if ((j%2)==0){
//					hambuffer[j]=(fbuffer[i*FrameStep+j/2]*hamming[j/2])/10000;
//				}else{
//					hambuffer[j] = 0;
//				}//sprintf(serialText1,"%.05f\r\n",hambuffer[j]);serialPrint(serialText1);
//			}//sprintf(serialText1,"%03d,%05d\r\n",i,(i*FrameStep+j/2));serialPrint(serialText1);
//
//
//			/* DFT the Buffer */
//			float32_t fft_out[fftSize];
//			fft(fftSize,hambuffer,fft_out);
//			/* MFCC from the fft_out */
//			mfcc(fft_out,NoOfFilters);
//
//		}
//	}
//
//	//}
//
//	f_close(&fp1);
//	//f_close(&fp);
//	serialPrint("\r\nMFCC Done!\r\n");
//	lcd_clear();
//	lcd_reset();
//	lcd_print("MFCC Done!");
/*     End of Code without Menu     */

/* USER CODE END 4 */

void _Error_Handler(char * file, int line)
{
	while(1)
	{
	}
}

/************************ (C) COPYRIGHT STMicroelectronics *****END OF FILE****/
